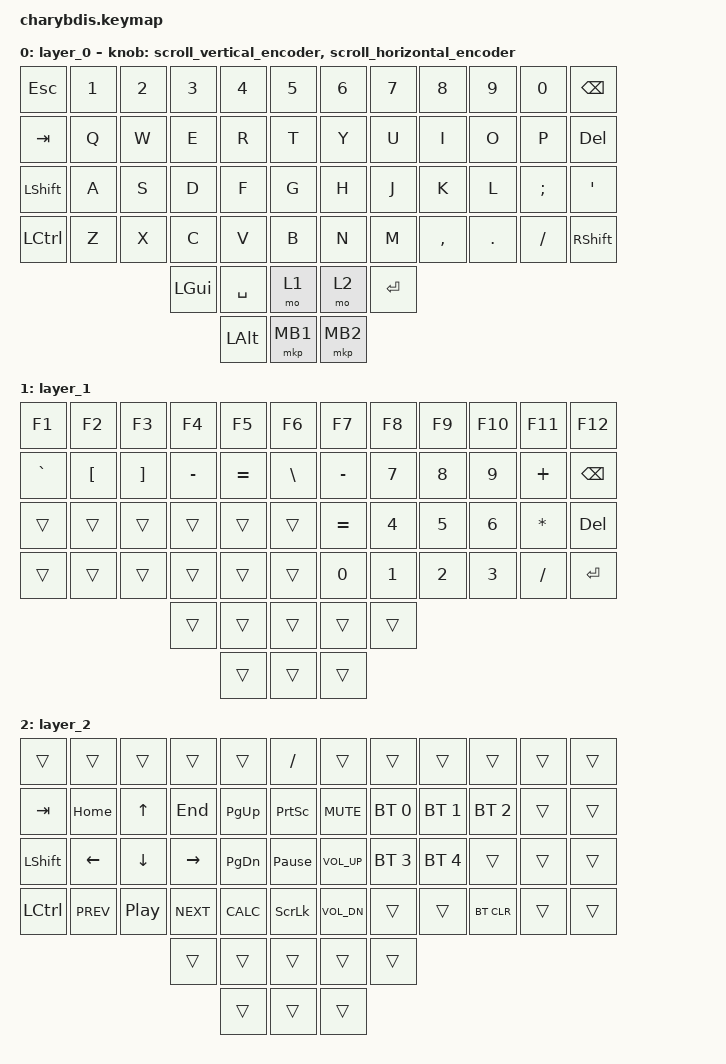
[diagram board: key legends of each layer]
#include <dt-bindings/zmk/mouse.h>
#include <input/processors.dtsi>
#include <zephyr/dt-bindings/input/input-event-codes.h>
#include <behaviors.dtsi>
#include <dt-bindings/zmk/bt.h>
#include <dt-bindings/zmk/keys.h>
#include <dt-bindings/zmk/pointing.h>
#include <dt-bindings/zmk/rgb.h>

#define ZMK_POINTING_DEFAULT_MOVE_VAL 1000 // 600
#define ZMK_POINTING_DEFAULT_SCRL_VAL 12   // 10

&lt {
    tapping-term-ms = <200>;
    flavor = "balanced";
    quick-tap-ms = <150>;
};

&mmv_input_listener { input-processors = <&zip_xy_scaler 2 1>; };

&msc_input_listener { input-processors = <&zip_scroll_scaler 2 1>; };

&msc {
    acceleration-exponent = <0>;      // 0
    time-to-max-speed-ms = <100>;       // 300
    delay-ms = <0>;                   // 0
};

&mmv {
    time-to-max-speed-ms = <500>;
    acceleration-exponent = <1>;
    trigger-period-ms = <16>;
};

/ {
    // 上下滚动编码器行为

    scroll_vertical_encoder: scroll_vertical_encoder {
        compatible = "zmk,behavior-sensor-rotate";
        #sensor-binding-cells = <0>;
        bindings = <&msc SCRL_DOWN>, <&msc SCRL_UP>;

        tap-ms = <100>;
    };

    // 左右滚动编码器行为

    scroll_horizontal_encoder: scroll_horizontal_encoder {
        compatible = "zmk,behavior-sensor-rotate";
        #sensor-binding-cells = <0>;
        bindings = <&msc SCRL_LEFT>, <&msc SCRL_RIGHT>;

        tap-ms = <100>;
    };

    behaviors {
    };

    macros {
        To1_macro: To1_macro {
            compatible = "zmk,behavior-macro";
            label = "To1_macro";
            #binding-cells = <0>;
            bindings = <&rgb_ug RGB_EFF &rgb_ug RGB_COLOR_HSB(128,100,50) &to 1>;
        };

        To1_macro_A: To1_macro_A {
            compatible = "zmk,behavior-macro";
            label = "To1_macro_A";
            #binding-cells = <0>;
            bindings = <&rgb_ug RGB_COLOR_HSB(128,100,50) &to 1>;
        };

        To0_macro: To0_macro {
            compatible = "zmk,behavior-macro";
            label = "To0_macro";
            #binding-cells = <0>;
            bindings = <&rgb_ug RGB_EFR &to 0>;
        };

        To2_macro_A: To2_macro_A {
            compatible = "zmk,behavior-macro";
            label = "To2_macro_A";
            #binding-cells = <0>;
            bindings = <&rgb_ug RGB_COLOR_HSB(250,100,50) &to 2>;
        };

        To2_macro: To2_macro {
            compatible = "zmk,behavior-macro";
            label = "To2_macro";
            #binding-cells = <0>;
            bindings = <&rgb_ug RGB_EFF &rgb_ug RGB_COLOR_HSB(250,100,50) &to 2>;
        };
    };

    keymap {
        compatible = "zmk,keymap";

        layer_0 {
            bindings = <
&kp ESC    &kp N1  &kp N2  &kp N3    &kp N4     &kp N5      &kp N6    &kp N7     &kp N8     &kp N9   &kp N0    &kp BSPC
&kp TAB    &kp Q   &kp W   &kp E     &kp R      &kp T       &kp Y     &kp U      &kp I      &kp O    &kp P     &kp DEL
&kp LSHFT  &kp A   &kp S   &kp D     &kp F      &kp G       &kp H     &kp J      &kp K      &kp L    &kp SEMI  &kp SQT
&kp LCTRL  &kp Z   &kp X   &kp C     &kp V      &kp B       &kp N     &kp M      &kp COMMA  &kp DOT  &kp FSLH  &kp RSHFT
                           &kp LGUI  &kp SPACE  &mo 1       &mo 2     &kp ENTER
                                     &kp LALT   &mkp MB1    &mkp MB2
            >;

            sensor-bindings =
                <&scroll_vertical_encoder>,
                <&scroll_horizontal_encoder>;
        };

        layer_1 {
            bindings = <
&kp F1     &kp F2    &kp F3    &kp F4     &kp F5     &kp F6      &kp F7     &kp F8  &kp F9  &kp F10  &kp F11   &kp F12
&kp GRAVE  &kp LBKT  &kp RBKT  &kp MINUS  &kp EQUAL  &kp BSLH    &kp MINUS  &kp N7  &kp N8  &kp N9   &kp PLUS  &kp BSPC
&trans     &trans    &trans    &trans     &trans     &trans      &kp EQUAL  &kp N4  &kp N5  &kp N6   &kp STAR  &kp DEL
&trans     &trans    &trans    &trans     &trans     &trans      &kp N0     &kp N1  &kp N2  &kp N3   &kp FSLH  &kp ENTER
                               &trans     &trans     &trans      &trans     &trans
                                          &trans     &trans      &trans
            >;
        };

        layer_2 {
            bindings = <
&trans     &trans      &trans    &trans      &trans      &kp SLASH          &trans        &trans        &trans        &trans        &trans  &trans
&kp TAB    &kp HOME    &kp UP    &kp END     &kp PG_UP   &kp PSCRN          &kp C_MUTE    &bt BT_SEL 0  &bt BT_SEL 1  &bt BT_SEL 2  &trans  &trans
&kp LSHFT  &kp LEFT    &kp DOWN  &kp RIGHT   &kp PG_DN   &kp PAUSE_BREAK    &kp C_VOL_UP  &bt BT_SEL 3  &bt BT_SEL 4  &trans        &trans  &trans
&kp LCTRL  &kp C_PREV  &kp C_PP  &kp C_NEXT  &kp K_CALC  &kp SLCK           &kp C_VOL_DN  &trans        &trans        &bt BT_CLR    &trans  &trans
                                 &trans      &trans      &trans             &trans        &trans
                                             &trans      &trans             &trans
            >;
        };
    };
};
